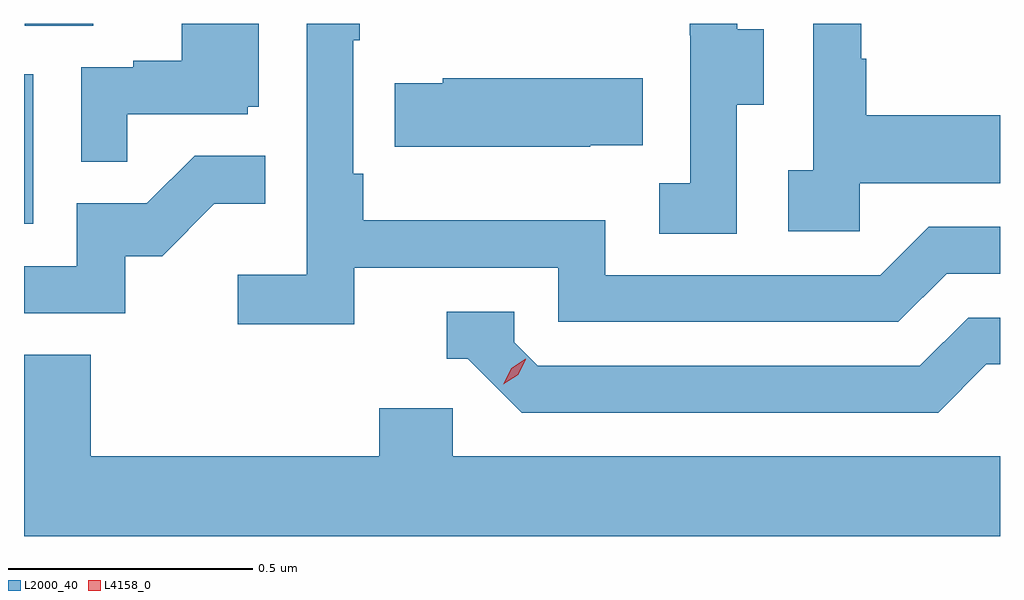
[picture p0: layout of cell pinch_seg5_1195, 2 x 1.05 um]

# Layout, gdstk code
import gdstk
lib = gdstk.Library(unit=1e-6, precision=1e-09)
def R(c, l, rs):  # rectangles x0, y0, x1, y1
    for r in rs: c.add(gdstk.rectangle(r[:2], r[2:], *l))
def P(c, l, *ps):  # polygons
    for p in ps: c.add(gdstk.Polygon(p, *l))
L2000_40 = (2000, 40)
L4158_0 = (4158, 0)

pinch_seg5_1195 = lib.new_cell('pinch_seg5_1195')
R(pinch_seg5_1195, L2000_40, [(868.983,850.74,869.002,851.047), (868.985,851.146,869.125,851.15)])
P(pinch_seg5_1195, L2000_40, [(870.444,850.984),(870.499,850.984),(870.499,851.139),(870.445,851.139),(870.445,851.15),(870.347,851.15),(870.347,851.127),(870.348,851.127),(870.348,850.823),(870.285,850.823),(870.285,850.72),(870.444,850.72)],
  [(869.195,850.965),(869.442,850.965),(869.442,850.98),(869.464,850.98),(869.464,851.15),(869.306,851.15),(869.306,851.074),(869.207,851.074),(869.207,851.061),(869.1,851.061),(869.1,850.867),(869.195,850.867)],
  [(870.696,850.823),(870.983,850.823),(870.983,850.963),(870.709,850.963),(870.709,851.078),(870.699,851.078),(870.699,851.15),(870.6,851.15),(870.6,850.85),(870.549,850.85),(870.549,850.725),(870.696,850.725)],
  [(869.66,850.65),(870.078,850.65),(870.078,850.539),(870.775,850.539),(870.874,850.638),(870.983,850.638),(870.983,850.734),(870.837,850.734),(870.738,850.635),(870.174,850.635),(870.174,850.747),(869.678,850.747),(869.678,850.843),(869.658,850.843),(869.658,851.116),(869.671,851.116),(869.671,851.15),(869.562,851.15),(869.562,850.636),(869.421,850.636),(869.421,850.534),(869.66,850.534)],
  [(870.143,850.901),(870.251,850.901),(870.251,851.038),(869.841,851.038),(869.841,851.028),(869.743,851.028),(869.743,850.898),(870.143,850.898)],
  [(869.19,850.674),(869.266,850.674),(869.373,850.781),(869.477,850.781),(869.477,850.88),(869.333,850.88),(869.235,850.782),(869.091,850.782),(869.091,850.653),(868.983,850.653),(868.983,850.557),(869.19,850.557)],
  [(870.955,850.452),(870.983,850.452),(870.983,850.548),(870.918,850.548),(870.819,850.449),(870.036,850.449),(869.988,850.497),(869.988,850.56),(869.849,850.56),(869.849,850.464),(869.892,850.464),(870.003,850.353),(870.856,850.353)],
  [(870.983,850.264),(869.862,850.264),(869.862,850.362),(869.711,850.362),(869.711,850.264),(869.12,850.264),(869.12,850.472),(868.983,850.472),(868.983,850.1),(870.983,850.1)])
P(pinch_seg5_1195, L4158_0, [(869.965,850.411),(869.965,850.411),(869.981,850.444),(870.011,850.464),(870.011,850.464),(870.011,850.463),(869.996,850.431),(869.965,850.411)])

lib.write_gds('pinch_seg5_1195.gds')
